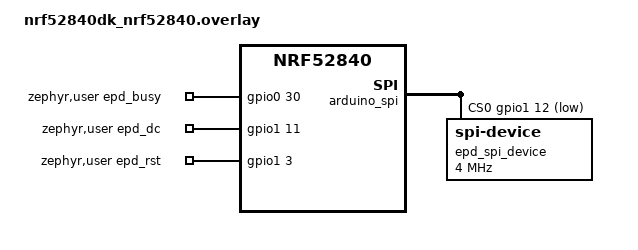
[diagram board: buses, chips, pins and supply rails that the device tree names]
// &pinctrl {
// 	spi_master_default: spi_master_default {
// 		group1 {
// 			psels = <NRF_PSEL(SPIM_SCK, 0, 31)>,
// 					<NRF_PSEL(SPIM_MOSI, 0, 30)>,
// 					<NRF_PSEL(SPIM_MISO, 0, 29)>;
// 		};
// 	};

// 	spi_master_sleep: spi_master_sleep {
// 		group1 {
// 			psels = <NRF_PSEL(SPIM_SCK, 0, 31)>,
// 					<NRF_PSEL(SPIM_MOSI, 0, 30)>,
// 					<NRF_PSEL(SPIM_MISO, 0, 29)>;
// 			low-power-enable;
// 		};
// 	};

// };

// my_spi_master: &spi3 {
// 	compatible = "nordic,nrf-spim";
// 	status = "okay";
// 	pinctrl-0 = <&spi_master_default>;
// 	pinctrl-1 = <&spi_master_sleep>;
// 	pinctrl-names = "default", "sleep";
// 	cs-gpios = <&gpio0 28 GPIO_ACTIVE_LOW>;
// 	reg_my_spi_master: spi-dev-a@0 {
// 		reg = <0>;
// 	};
// };



// // By default uart1 will occupy P1.01 and P1.02. In order to make these pins available, disable uart1
// &uart1 {
// 	status="disabled";
// };
// / {
// 	zephyr,user {
// 		epd_busy-gpios = <&gpio0 14 GPIO_ACTIVE_HIGH>;
// 		epd_dc-gpios = <&gpio0 3 GPIO_PULL_UP>;
// 		epd_rst-gpios = <&gpio0 2 GPIO_ACTIVE_HIGH>;
// 	}; 
// };
	



&arduino_spi {
	status = "okay";
	cs-gpios = <&gpio1 12 GPIO_ACTIVE_LOW>;  /* EPD CS */
	
	/* EPD device on arduino_spi */
	epd_spi_device: spi-dev-epd@0 {
		compatible = "spi-device";
		reg = <0>;
		spi-max-frequency = <4000000>;
	};

};


/ {
	zephyr,user {
		epd_busy-gpios = <&gpio0 30 GPIO_ACTIVE_HIGH>;
		epd_dc-gpios = <&gpio1 11 GPIO_PULL_UP>;
		epd_rst-gpios = <&gpio1 3 GPIO_ACTIVE_HIGH>;
	}; 
};

